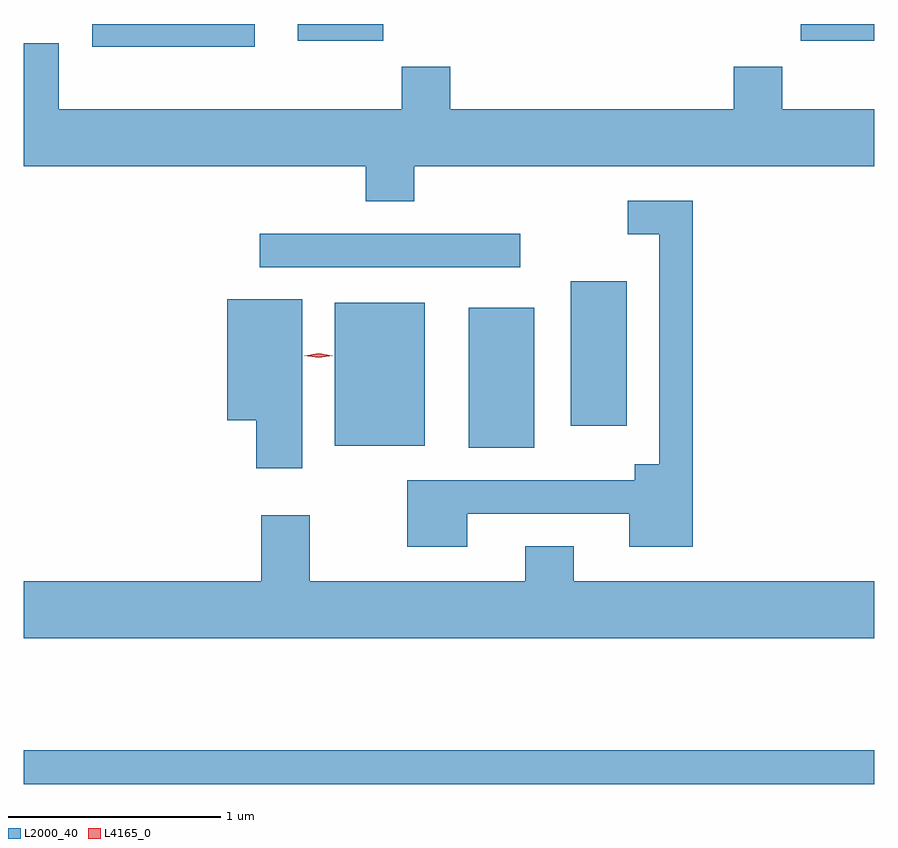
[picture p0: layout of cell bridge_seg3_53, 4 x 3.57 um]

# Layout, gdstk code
import gdstk
lib = gdstk.Library(unit=1e-6, precision=1e-09)
def R(c, l, rs):  # rectangles x0, y0, x1, y1
    for r in rs: c.add(gdstk.rectangle(r[:2], r[2:], *l))
def P(c, l, *ps):  # polygons
    for p in ps: c.add(gdstk.Polygon(p, *l))
L2000_40 = (2000, 40)
L4165_0 = (4165, 0)

bridge_seg3_53 = lib.new_cell('bridge_seg3_53')
R(bridge_seg3_53, L2000_40, [(1246.503,1225.231,1250.503,1225.389), (1248.596,1226.811,1248.904,1227.469), (1247.966,1226.821,1248.389,1227.494), (1249.076,1226.916,1249.339,1227.594), (1247.613,1227.661,1248.838,1227.819), (1246.826,1228.696,1247.589,1228.804), (1247.791,1228.726,1248.194,1228.804), (1250.156,1228.726,1250.503,1228.804)])
P(bridge_seg3_53, L2000_40, [(1248.339,1228.136),(1250.503,1228.136),(1250.503,1228.404),(1250.069,1228.404),(1250.069,1228.604),(1249.841,1228.604),(1249.841,1228.404),(1248.509,1228.404),(1248.509,1228.604),(1248.281,1228.604),(1248.281,1228.404),(1246.669,1228.404),(1246.669,1228.714),(1246.503,1228.714),(1246.503,1228.136),(1248.111,1228.136),(1248.111,1227.971),(1248.339,1227.971)],
  [(1248.589,1226.501),(1249.351,1226.501),(1249.351,1226.346),(1249.649,1226.346),(1249.649,1227.974),(1249.343,1227.974),(1249.343,1227.816),(1249.491,1227.816),(1249.491,1226.734),(1249.376,1226.734),(1249.376,1226.659),(1248.306,1226.659),(1248.306,1226.346),(1248.589,1226.346)],
  [(1247.814,1227.509),(1247.461,1227.509),(1247.461,1226.941),(1247.596,1226.941),(1247.596,1226.716),(1247.814,1226.716)],
  [(1250.503,1226.184),(1249.089,1226.184),(1249.089,1226.349),(1248.861,1226.349),(1248.861,1226.184),(1247.849,1226.184),(1247.849,1226.494),(1247.621,1226.494),(1247.621,1226.184),(1246.503,1226.184),(1246.503,1225.916),(1250.503,1225.916)])
P(bridge_seg3_53, L4165_0, [(1247.89,1227.235),(1247.823,1227.244),(1247.823,1227.245),(1247.823,1227.245),(1247.89,1227.255),(1247.956,1227.245),(1247.956,1227.245),(1247.956,1227.244)])

lib.write_gds('bridge_seg3_53.gds')
